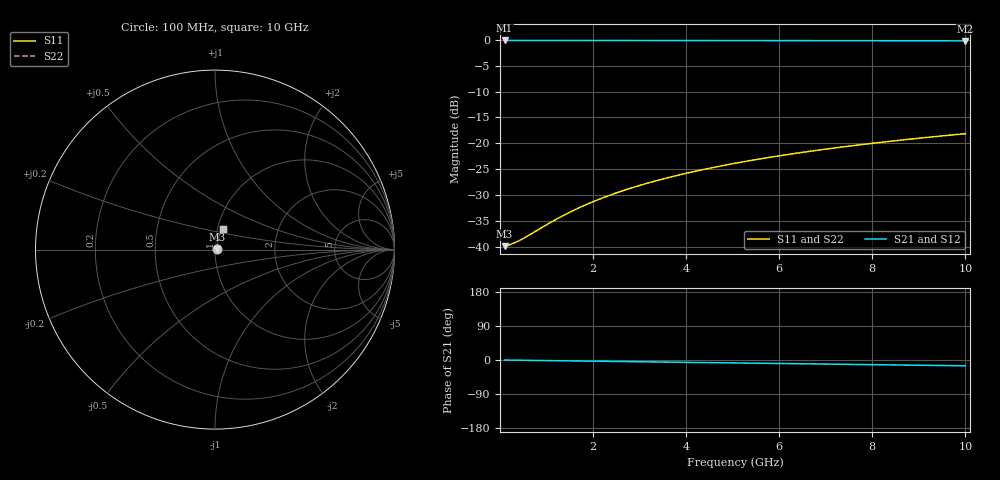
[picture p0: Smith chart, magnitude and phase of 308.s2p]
# Hz S RI R 50.00
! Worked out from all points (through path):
!   100 points, 100 MHz to 10 GHz, reference 50 ohm
!   highest |S21| = -0.09 dB at 100 MHz (marker M1); lowest = -0.2 dB at 10 GHz (marker M2)
!   group delay of S21, straight-line fit = 4.26 ps
!   lowest |S11| = -39.9 dB at 100 MHz (marker M3), VSWR 1.02, Z = 51 + j0.125 ohm
!   |S11| at or under -10 dB: start of sweep to end of sweep
!   |S22| runs from -39.9 to -18.1 dB; largest |S21 - S12| = 0
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1e8  0.01 0.00123  0.99 -0.00266  0.99 -0.00266  0.01 0.00123
2e8  0.0101 0.00246  0.9899 -0.00533  0.9899 -0.00533  0.0101 0.00246
3e8  0.0101 0.00368  0.9898 -0.00799  0.9898 -0.00799  0.0101 0.00368
4e8  0.0102 0.00491  0.9898 -0.0106  0.9898 -0.0106  0.0102 0.00491
6e8  0.0103 0.00736  0.9896 -0.016  0.9896 -0.016  0.0103 0.00736
1e9  0.0106 0.0123  0.9892 -0.0266  0.9892 -0.0266  0.0106 0.0123
1.3e9  0.0109 0.0159  0.9889 -0.0346  0.9889 -0.0346  0.0109 0.0159
1.5e9  0.0111 0.0184  0.9886 -0.0399  0.9886 -0.0399  0.0111 0.0184
1.8e9  0.0115 0.022  0.9881 -0.0479  0.9881 -0.0479  0.0115 0.022
2.1e9  0.0119 0.0257  0.9876 -0.0558  0.9876 -0.0558  0.0119 0.0257
2.5e9  0.0126 0.0306  0.9867 -0.0664  0.9867 -0.0664  0.0126 0.0306
2.9e9  0.0133 0.0354  0.9858 -0.077  0.9858 -0.077  0.0133 0.0354
3.4e9  0.0144 0.0414  0.9843 -0.0902  0.9843 -0.0902  0.0144 0.0414
3.8e9  0.0154 0.0462  0.9831 -0.1007  0.9831 -0.1007  0.0154 0.0462
4.2e9  0.0165 0.051  0.9816 -0.1113  0.9816 -0.1113  0.0165 0.051
4.6e9  0.0177 0.0557  0.9801 -0.1217  0.9801 -0.1217  0.0177 0.0557
5.1e9  0.0193 0.0616  0.978 -0.1348  0.978 -0.1348  0.0193 0.0616
5.9e9  0.0222 0.071  0.9741 -0.1556  0.9741 -0.1556  0.0222 0.071
6.7e9  0.0255 0.0801  0.9698 -0.1763  0.9698 -0.1763  0.0255 0.0801
7.5e9  0.0292 0.0891  0.9649 -0.1968  0.9649 -0.1968  0.0292 0.0891
8.4e9  0.0338 0.0991  0.9588 -0.2196  0.9588 -0.2196  0.0338 0.0991
1e10  0.0431 0.116  0.9464 -0.2596  0.9464 -0.2596  0.0431 0.116
